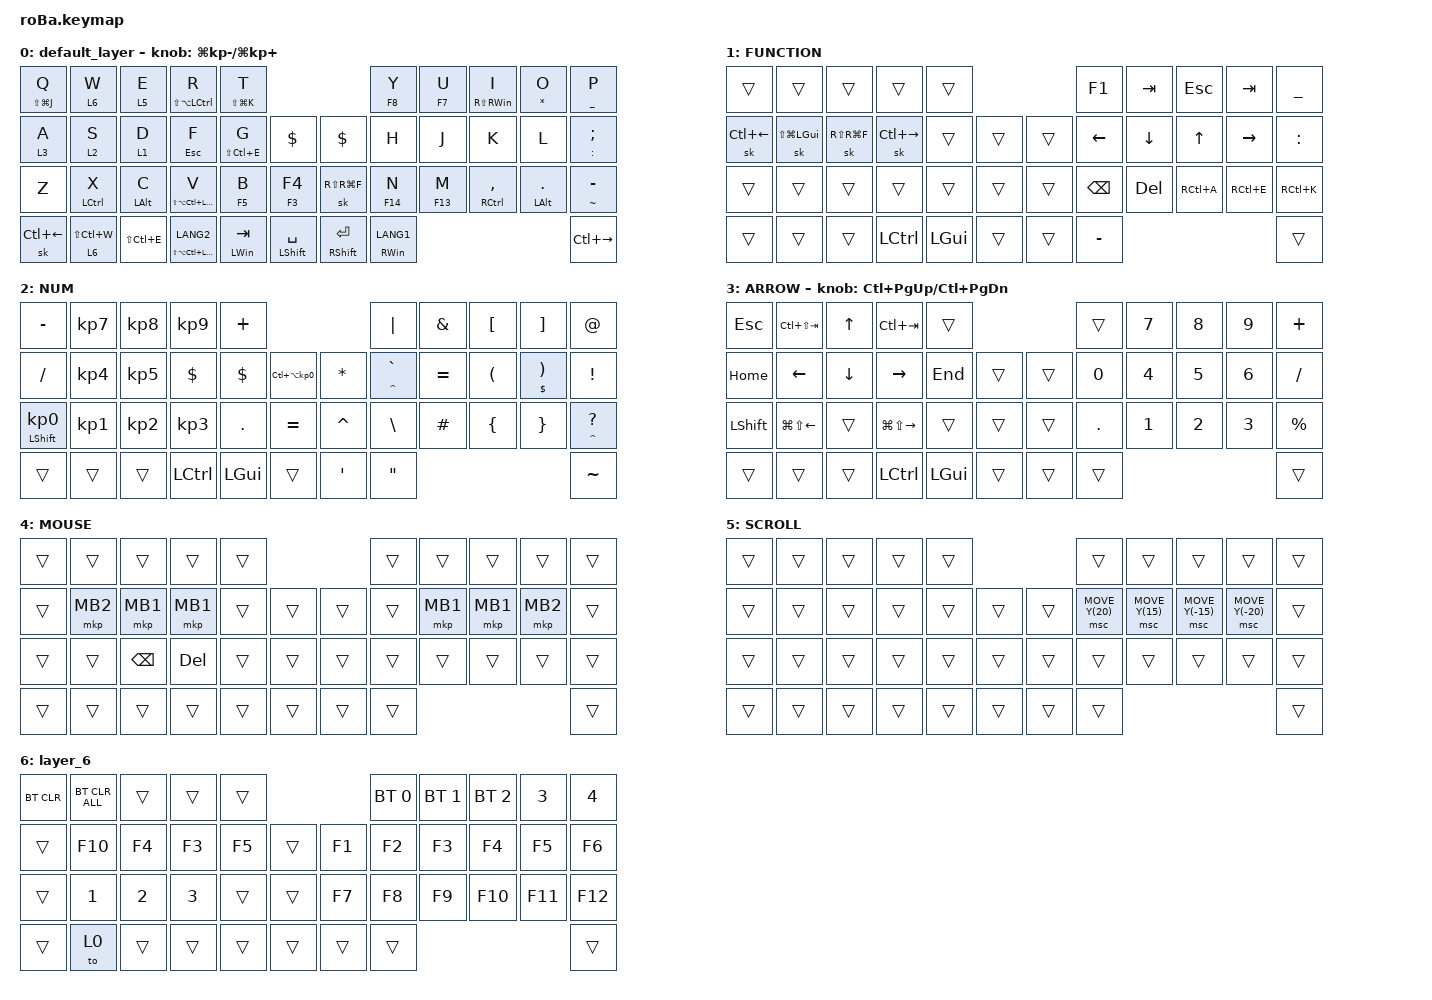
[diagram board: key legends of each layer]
#include <behaviors.dtsi>
#include <dt-bindings/zmk/bt.h>
#include <dt-bindings/zmk/keys.h>
#include <dt-bindings/zmk/pointing.h>

&mt {
    flavor = "balanced";
    quick-tap-ms = <0>;
    tapping-term-ms = <250>;
};

&trackball {
    automouse-layer = <4>;
    scroll-layers = <5>;

    // arrows {
    //     layers = <3>;
    //     bindings =
    //         <&kp RIGHT_ARROW>,
    //         <&kp LEFT_ARROW>,
    //         <&kp UP_ARROW>,
    //         <&kp DOWN_ARROW>;
    //     tick = <10>;
    //     wait-ms = <5>;
    //     tap-ms = <5>;
    // };
};

/ {
    combos {
        compatible = "zmk,combos";

        tab {
            bindings = <&kp TAB>;
            key-positions = <11 12>;
        };

        shift_tab {
            bindings = <&kp LS(TAB)>;
            key-positions = <10 11>;
        };

        esc {
            bindings = <&kp ESC>;
            key-positions = <13 12>;
        };

        double_quotation {
            bindings = <&kp DOUBLE_QUOTES>;
            key-positions = <20 21>;
        };

        eq {
            bindings = <&kp EQUAL>;
            key-positions = <24 25>;
        };

        combo-colon {
            bindings = <&kp RC(COLON)>;
            key-positions = <19 20>;
        };

        hifun {
            bindings = <&kp MINUS>;
            key-positions = <18 19>;
        };
    };

    macros {
        to_layer_0: to_layer_0 {
            compatible = "zmk,behavior-macro-one-param";
            #binding-cells = <1>;
            bindings = <&to 0 &macro_param_1to1 &kp MACRO_PLACEHOLDER>;
            label = "TO_LAYER_0";
        };

        esc_lang2: esc_lang2 {
            compatible = "zmk,behavior-macro";
            #binding-cells = <0>;
            bindings = <&kp ESC>, <&macro_tap>, <&kp ESC &kp LANG2>;

            label = "ESC_LANG2";
        };
    };

    behaviors {
        lt_to_layer_0: lt_to_layer_0 {
            compatible = "zmk,behavior-hold-tap";
            label = "LAYER_TAP_TO_0";
            bindings = <&mo>, <&to_layer_0>;

            #binding-cells = <2>;
            tapping-term-ms = <200>;
        };
    };

    keymap {
        compatible = "zmk,keymap";

        default_layer {
            bindings = <
&mt LS(LG(J)) Q     &lt 6 W             &lt 5 E         &mt LS(LA(LCTRL)) R             &mt LS(LG(K)) T                                                   &mt F8 Y             &mt F7 U   &mt RS(RIGHT_WIN) I      &mt ASTERISK O       &mt UNDERSCORE P
&lt 3 A             &lt 2 S             &lt 1 D         &mt ESC F                       &mt LS(LC(E)) G  &kp DOLLAR                &kp DOLLAR             &kp H                &kp J      &kp K                    &kp L                &mt COLON SEMICOLON
&kp Z               &mt LEFT_CONTROL X  &mt LEFT_ALT C  &mt LS(LA(LC(LEFT_GUI))) V      &mt F5 B         &mt F3 F4                 &sk RS(RG(F))          &mt F14 N            &mt F13 M  &mt RIGHT_CONTROL COMMA  &mt LEFT_ALT PERIOD  &mt TILDE MINUS
&sk LC(LEFT_ARROW)  &lt 6 LS(LC(W))     &kp LS(LC(E))   &mt LS(LA(LC(LEFT_GUI))) LANG2  &mt LWIN TAB     &mt LEFT_SHIFT SPACE      &mt RIGHT_SHIFT ENTER  &mt RIGHT_WIN LANG1                                                           &kp LC(RIGHT)
            >;

            sensor-bindings = <&inc_dec_kp LG(KP_MINUS) LG(KP_PLUS)>;
        };

        FUNCTION {
            bindings = <
&trans        &trans                &trans         &trans            &trans                            &kp F1          &kp TAB   &kp ESC       &kp TAB    &kp UNDER
&sk LC(LEFT)  &sk LS(LG(LEFT_GUI))  &sk RS(RG(F))  &sk LC(RIGHT)     &trans        &trans      &trans  &kp LEFT_ARROW  &kp DOWN  &kp UP_ARROW  &kp RIGHT  &kp COLON
&trans        &trans                &trans         &trans            &trans        &trans      &trans  &kp BACKSPACE   &kp DEL   &kp RC(A)     &kp RC(E)  &kp RC(K)
&trans        &trans                &trans         &kp LEFT_CONTROL  &kp LEFT_GUI  &trans      &trans  &kp MINUS                                          &trans
            >;
        };

        NUM {
            bindings = <
&kp MINUS                   &kp KP_NUMBER_7  &kp KP_NUMBER_8  &kp KP_NUMBER_9   &kp PLUS                                                     &kp PIPE           &kp AMPERSAND  &kp LEFT_BRACKET      &kp RIGHT_BRACKET             &kp AT_SIGN
&kp SLASH                   &kp KP_NUMBER_4  &kp KP_NUMBER_5  &kp DOLLAR        &kp DOLLAR    &kp LC(LA(KP_NUMBER_0))      &kp ASTERISK      &mt CARET GRAVE    &kp EQUAL      &kp LEFT_PARENTHESIS  &mt DOLLAR RIGHT_PARENTHESIS  &kp EXCLAMATION
&mt LEFT_SHIFT KP_NUMBER_0  &kp KP_NUMBER_1  &kp KP_NUMBER_2  &kp KP_NUMBER_3   &kp PERIOD    &kp EQUAL                    &kp CARET         &kp BACKSLASH      &kp HASH       &kp LEFT_BRACE        &kp RIGHT_BRACE               &mt CARET QUESTION
&trans                      &trans           &trans           &kp LEFT_CONTROL  &kp LEFT_GUI  &trans                       &kp SINGLE_QUOTE  &kp DOUBLE_QUOTES                                                                     &kp TILDE
            >;
        };

        ARROW {
            bindings = <
&kp ESCAPE      &kp LC(LS(TAB))         &kp UP_ARROW    &kp LC(TAB)              &trans                            &trans      &kp N7  &kp N8  &kp N9  &kp PLUS
&kp HOME        &kp LEFT_ARROW          &kp DOWN_ARROW  &kp RIGHT_ARROW          &kp END       &trans      &trans  &kp N0      &kp N4  &kp N5  &kp N6  &kp SLASH
&kp LEFT_SHIFT  &kp LG(LS(LEFT_ARROW))  &trans          &kp LG(LS(RIGHT_ARROW))  &trans        &trans      &trans  &kp PERIOD  &kp N1  &kp N2  &kp N3  &kp PERCENT
&trans          &trans                  &trans          &kp LEFT_CONTROL         &kp LEFT_GUI  &trans      &trans  &trans                              &trans
            >;

            sensor-bindings = <&inc_dec_kp LC(PAGE_UP) LC(PAGE_DOWN)>;
        };

        MOUSE {
            bindings = <
&trans  &trans    &trans         &trans      &trans                      &trans  &trans    &trans    &trans    &trans
&trans  &mkp MB2  &mkp MB1       &mkp MB1    &trans  &trans      &trans  &trans  &mkp MB1  &mkp MB1  &mkp MB2  &trans
&trans  &trans    &kp BACKSPACE  &kp DELETE  &trans  &trans      &trans  &trans  &trans    &trans    &trans    &trans
&trans  &trans    &trans         &trans      &trans  &trans      &trans  &trans                                &trans
            >;
        };

        SCROLL {
            bindings = <
&trans  &trans  &trans  &trans  &trans                      &trans           &trans           &trans            &trans            &trans
&trans  &trans  &trans  &trans  &trans  &trans      &trans  &msc MOVE_Y(20)  &msc MOVE_Y(15)  &msc MOVE_Y(-15)  &msc MOVE_Y(-20)  &trans
&trans  &trans  &trans  &trans  &trans  &trans      &trans  &trans           &trans           &trans            &trans            &trans
&trans  &trans  &trans  &trans  &trans  &trans      &trans  &trans                                                                &trans
            >;
        };

        layer_6 {
            bindings = <
&bt BT_CLR  &bt BT_CLR_ALL  &trans        &trans        &trans                      &bt BT_SEL 0  &bt BT_SEL 1  &bt BT_SEL 2  &kp NUMBER_3  &kp NUMBER_4
&trans      &kp F10         &kp F4        &kp F3        &kp F5  &trans      &kp F1  &kp F2        &kp F3        &kp F4        &kp F5        &kp F6
&trans      &kp NUMBER_1    &kp NUMBER_2  &kp NUMBER_3  &trans  &trans      &kp F7  &kp F8        &kp F9        &kp F10       &kp F11       &kp F12
&trans      &to 0           &trans        &trans        &trans  &trans      &trans  &trans                                                  &trans
            >;
        };
    };
};
